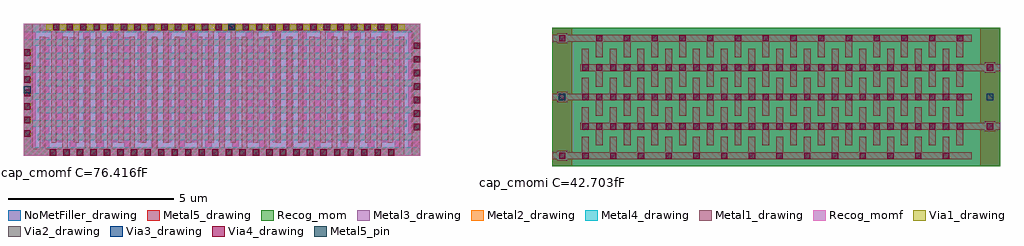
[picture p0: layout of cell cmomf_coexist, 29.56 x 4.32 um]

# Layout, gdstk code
import gdstk
lib = gdstk.Library(unit=1e-6, precision=1e-09)
def R(c, l, rs):  # rectangles x0, y0, x1, y1
    for r in rs: c.add(gdstk.rectangle(r[:2], r[2:], *l))
def A(c, l, x, y, w, h, nx, ny, dx, dy):  # array of equal rectangles
    R(c, l, [(x+i*dx, y+j*dy, x+i*dx+w, y+j*dy+h) for i in range(nx) for j in range(ny)])
Metal1_drawing = (8, 0)
Metal2_drawing = (10, 0)
Via1_drawing = (19, 0)
Via2_drawing = (29, 0)
Metal3_drawing = (30, 0)
Via3_drawing = (49, 0)
Metal4_drawing = (50, 0)
Via4_drawing = (66, 0)
Metal5_drawing = (67, 0)
Metal5_pin = (67, 2)
Recog_mom = (99, 39)
Recog_momf = (99, 40)
NoMetFiller_drawing = (160, 0)

cmomf_coexist = lib.new_cell('cmomf_coexist')
A(cmomf_coexist, Metal1_drawing, 16.145, -0.155, 0.31, 0.31, 1, 3, 0, 1.78)
A(cmomf_coexist, Metal1_drawing, 16, -0.105, 12.71, 0.21, 1, 3, 0, 1.78)
A(cmomf_coexist, Metal1_drawing, 0.48, 0, 0.16, 3.61, 17, 1, 0.68, 0)
A(cmomf_coexist, Metal1_drawing, 16.9, 0, 0.21, 0.575, 14, 4, 0.84, 0.89)
A(cmomf_coexist, Metal1_drawing, 17.32, 0.315, 0.21, 0.575, 14, 4, 0.84, 0.89)
A(cmomf_coexist, Metal1_drawing, 0.82, 0.39, 0.16, 3.61, 16, 1, 0.68, 0)
R(cmomf_coexist, Metal1_drawing, [(0,0,0.26,4), (0,0,11.52,0.21), (11.74,0,12,4), (29.105,0.735,29.415,1.045), (16.85,0.785,29.56,0.995), (29.105,2.515,29.415,2.825), (16.85,2.565,29.56,2.775), (0.48,3.79,12,4)])
A(cmomf_coexist, Metal2_drawing, 16.145, -0.155, 0.31, 0.31, 1, 3, 0, 1.78)
A(cmomf_coexist, Metal2_drawing, 16, -0.105, 12.71, 0.21, 1, 3, 0, 1.78)
A(cmomf_coexist, Metal2_drawing, 16.9, 0, 0.21, 0.575, 14, 4, 0.84, 0.89)
A(cmomf_coexist, Metal2_drawing, 17.32, 0.315, 0.21, 0.575, 14, 4, 0.84, 0.89)
A(cmomf_coexist, Metal2_drawing, 0.42, 0.465, 11.58, 0.2, 1, 4, 0, 0.82)
A(cmomf_coexist, Metal2_drawing, 0, 0.875, 11.58, 0.2, 1, 4, 0, 0.82)
R(cmomf_coexist, Metal2_drawing, [(0,0,12,0.255), (0,0,0.205,3.535), (11.795,0.465,12,4), (29.105,0.735,29.415,1.045), (16.85,0.785,29.56,0.995), (29.105,2.515,29.415,2.825), (16.85,2.565,29.56,2.775), (0,3.745,12,4)])
A(cmomf_coexist, Via1_drawing, 16.205, -0.095, 0.19, 0.19, 1, 3, 0, 1.78)
A(cmomf_coexist, Via1_drawing, 16.91, -0.095, 0.19, 0.19, 14, 1, 0.84, 0)
A(cmomf_coexist, Via1_drawing, 0.78, 0.01, 0.19, 0.19, 26, 1, 0.41, 0)
A(cmomf_coexist, Via1_drawing, 0.01, 0.575, 0.19, 0.19, 1, 7, 0, 0.41)
A(cmomf_coexist, Via1_drawing, 11.8, 0.775, 0.19, 0.19, 1, 7, 0, 0.41)
A(cmomf_coexist, Via1_drawing, 16.91, 0.795, 0.19, 0.19, 28, 3, 0.42, 0.89)
A(cmomf_coexist, Via1_drawing, 17.33, 3.465, 0.19, 0.19, 14, 1, 0.84, 0)
A(cmomf_coexist, Via1_drawing, 0.675, 3.8, 0.19, 0.19, 27, 1, 0.41, 0)
R(cmomf_coexist, Via1_drawing, [(29.165,0.795,29.355,0.985), (29.165,2.575,29.355,2.765)])
A(cmomf_coexist, Via2_drawing, 16.205, -0.095, 0.19, 0.19, 1, 3, 0, 1.78)
A(cmomf_coexist, Via2_drawing, 16.91, -0.095, 0.19, 0.19, 14, 1, 0.84, 0)
A(cmomf_coexist, Via2_drawing, 0.78, 0.005, 0.19, 0.19, 26, 1, 0.41, 0)
A(cmomf_coexist, Via2_drawing, 0.005, 0.575, 0.19, 0.19, 1, 7, 0, 0.41)
A(cmomf_coexist, Via2_drawing, 11.805, 0.775, 0.19, 0.19, 1, 7, 0, 0.41)
A(cmomf_coexist, Via2_drawing, 16.91, 0.795, 0.19, 0.19, 28, 3, 0.42, 0.89)
A(cmomf_coexist, Via2_drawing, 17.33, 3.465, 0.19, 0.19, 14, 1, 0.84, 0)
A(cmomf_coexist, Via2_drawing, 0.88, 3.805, 0.19, 0.19, 26, 1, 0.41, 0)
R(cmomf_coexist, Via2_drawing, [(29.165,0.795,29.355,0.985), (29.165,2.575,29.355,2.765)])
A(cmomf_coexist, Metal3_drawing, 16.145, -0.155, 0.31, 0.31, 1, 3, 0, 1.78)
A(cmomf_coexist, Metal3_drawing, 16, -0.105, 12.71, 0.21, 1, 3, 0, 1.78)
A(cmomf_coexist, Metal3_drawing, 0.57, 0, 0.2, 3.59, 14, 1, 0.82, 0)
A(cmomf_coexist, Metal3_drawing, 16.9, 0, 0.21, 0.575, 14, 4, 0.84, 0.89)
A(cmomf_coexist, Metal3_drawing, 17.32, 0.315, 0.21, 0.575, 14, 4, 0.84, 0.89)
A(cmomf_coexist, Metal3_drawing, 0.98, 0.41, 0.2, 3.59, 13, 1, 0.82, 0)
R(cmomf_coexist, Metal3_drawing, [(0,0,11.43,0.2), (0,0,0.36,4), (11.64,0,12,4), (29.105,0.735,29.415,1.045), (16.85,0.785,29.56,0.995), (29.105,2.515,29.415,2.825), (16.85,2.565,29.56,2.775), (0.57,3.8,12,4)])
A(cmomf_coexist, Via3_drawing, 16.205, -0.095, 0.19, 0.19, 1, 3, 0, 1.78)
A(cmomf_coexist, Via3_drawing, 16.91, -0.095, 0.19, 0.19, 14, 1, 0.84, 0)
A(cmomf_coexist, Via3_drawing, 0.78, 0.005, 0.19, 0.19, 26, 1, 0.41, 0)
A(cmomf_coexist, Via3_drawing, 0.005, 0.575, 0.19, 0.19, 1, 7, 0, 0.41)
A(cmomf_coexist, Via3_drawing, 11.805, 0.775, 0.19, 0.19, 1, 7, 0, 0.41)
A(cmomf_coexist, Via3_drawing, 16.91, 0.795, 0.19, 0.19, 28, 3, 0.42, 0.89)
A(cmomf_coexist, Via3_drawing, 17.33, 3.465, 0.19, 0.19, 14, 1, 0.84, 0)
A(cmomf_coexist, Via3_drawing, 0.88, 3.805, 0.19, 0.19, 26, 1, 0.41, 0)
R(cmomf_coexist, Via3_drawing, [(29.165,0.795,29.355,0.985), (29.165,2.575,29.355,2.765)])
A(cmomf_coexist, Metal4_drawing, 16.145, -0.155, 0.31, 0.31, 1, 3, 0, 1.78)
A(cmomf_coexist, Metal4_drawing, 16, -0.105, 12.71, 0.21, 1, 3, 0, 1.78)
A(cmomf_coexist, Metal4_drawing, 16.9, 0, 0.21, 0.575, 14, 4, 0.84, 0.89)
A(cmomf_coexist, Metal4_drawing, 17.32, 0.315, 0.21, 0.575, 14, 4, 0.84, 0.89)
A(cmomf_coexist, Metal4_drawing, 0.41, 0.465, 11.59, 0.2, 1, 4, 0, 0.82)
A(cmomf_coexist, Metal4_drawing, 0, 0.875, 11.59, 0.2, 1, 4, 0, 0.82)
R(cmomf_coexist, Metal4_drawing, [(0,0,12,0.255), (0,0,0.2,3.535), (11.8,0.465,12,4), (29.105,0.735,29.415,1.045), (16.85,0.785,29.56,0.995), (29.105,2.515,29.415,2.825), (16.85,2.565,29.56,2.775), (0,3.745,12,4)])
A(cmomf_coexist, Via4_drawing, 16.205, -0.095, 0.19, 0.19, 1, 3, 0, 1.78)
A(cmomf_coexist, Via4_drawing, 16.91, -0.095, 0.19, 0.19, 14, 1, 0.84, 0)
A(cmomf_coexist, Via4_drawing, 0.78, 0.005, 0.19, 0.19, 26, 1, 0.41, 0)
A(cmomf_coexist, Via4_drawing, 0.005, 0.575, 0.19, 0.19, 1, 7, 0, 0.41)
A(cmomf_coexist, Via4_drawing, 11.805, 0.775, 0.19, 0.19, 1, 7, 0, 0.41)
A(cmomf_coexist, Via4_drawing, 16.91, 0.795, 0.19, 0.19, 28, 3, 0.42, 0.89)
A(cmomf_coexist, Via4_drawing, 17.33, 3.465, 0.19, 0.19, 14, 1, 0.84, 0)
A(cmomf_coexist, Via4_drawing, 0.88, 3.805, 0.19, 0.19, 26, 1, 0.41, 0)
R(cmomf_coexist, Via4_drawing, [(29.165,0.795,29.355,0.985), (29.165,2.575,29.355,2.765)])
A(cmomf_coexist, Metal5_drawing, 16, -0.105, 12.71, 0.21, 1, 3, 0, 1.78)
A(cmomf_coexist, Metal5_drawing, 0.57, 0, 0.2, 3.59, 14, 1, 0.82, 0)
A(cmomf_coexist, Metal5_drawing, 16.9, 0, 0.21, 0.575, 14, 4, 0.84, 0.89)
A(cmomf_coexist, Metal5_drawing, 17.32, 0.315, 0.21, 0.575, 14, 4, 0.84, 0.89)
A(cmomf_coexist, Metal5_drawing, 0.98, 0.41, 0.2, 3.59, 13, 1, 0.82, 0)
R(cmomf_coexist, Metal5_drawing, [(16,-0.32,16.6,3.88), (28.96,-0.32,29.56,3.88), (0,0,0.36,4), (0,0,11.43,0.2), (11.64,0,12,4), (16.85,0.785,29.56,0.995), (16.85,2.565,29.56,2.775), (0.57,3.8,12,4)])
R(cmomf_coexist, Metal5_pin, [(16.2,1.675,16.4,1.885), (29.16,1.675,29.36,1.885), (0,1.9,0.2,2.1), (6.185,3.8,6.385,4)])
R(cmomf_coexist, Recog_mom, [(16,-0.32,29.56,3.88)])
R(cmomf_coexist, Recog_momf, [(0,0,12,4)])
R(cmomf_coexist, NoMetFiller_drawing, [(16,-0.32,29.56,3.88), (0,0,12,4)])
cmomf_coexist.add(gdstk.Label('cap_cmomf C=76.416fF', (0,-0.5), layer=63, texttype=0))
cmomf_coexist.add(gdstk.Label('cap_cmomi C=42.703fF', (16,-0.82), layer=63, texttype=0))

lib.write_gds('cmomf_coexist.gds')
